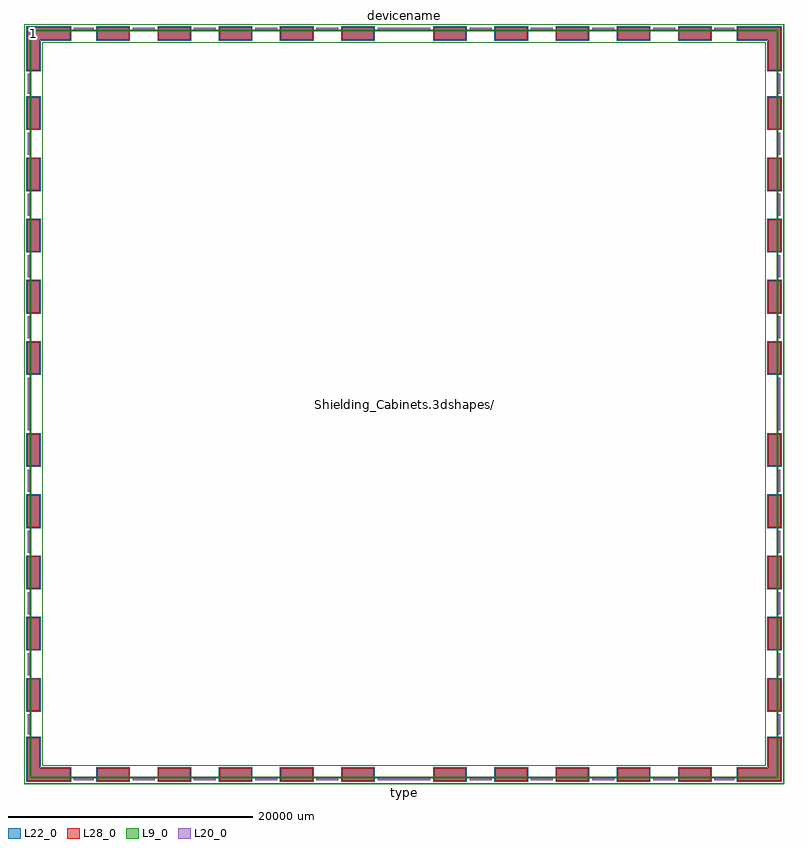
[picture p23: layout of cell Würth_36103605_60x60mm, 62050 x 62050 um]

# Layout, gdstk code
import gdstk
lib = gdstk.Library(unit=1e-6, precision=1e-09)
def R(c, l, rs):  # rectangles x0, y0, x1, y1
    for r in rs: c.add(gdstk.rectangle(r[:2], r[2:], *l))
def A(c, l, x, y, w, h, nx, ny, dx, dy):  # array of equal rectangles
    R(c, l, [(x+i*dx, y+j*dy, x+i*dx+w, y+j*dy+h) for i in range(nx) for j in range(ny)])
L9_0 = (9, 0)
L20_0 = (20, 0)
L22_0 = (22, 0)
L28_0 = (28, 0)

w_rth_36103605_60x60mm = lib.new_cell('Würth_36103605_60x60mm')
A(w_rth_36103605_60x60mm, L22_0, -25125, -30825, 2750, 1150, 5, 2, 5000, 60500)
A(w_rth_36103605_60x60mm, L22_0, 2375, -30825, 2750, 1150, 5, 2, 5000, 60500)
A(w_rth_36103605_60x60mm, L22_0, -30825, -25125, 1150, 2750, 1, 5, 0, 5000)
A(w_rth_36103605_60x60mm, L22_0, 29675, -25125, 1150, 2750, 1, 5, 0, 5000)
A(w_rth_36103605_60x60mm, L22_0, -30825, 2375, 1150, 2750, 1, 5, 0, 5000)
A(w_rth_36103605_60x60mm, L22_0, 29675, 2375, 1150, 2750, 1, 5, 0, 5000)
R(w_rth_36103605_60x60mm, L22_0, [(-30825,-30825,-29675,-29675), (-29825,-30825,-27175,-29675), (27175,-30825,29825,-29675), (29675,-30825,30825,-29675), (-30825,-29825,-29675,-27175), (29675,-29825,30825,-27175), (-30825,27175,-29675,29825), (29675,27175,30825,29825), (-30825,29675,-29675,30825), (-29825,29675,-27175,30825), (27175,29675,29825,30825), (29675,29675,30825,30825)])
A(w_rth_36103605_60x60mm, L28_0, -25050, -30750, 2600, 1000, 5, 2, 5000, 60500)
A(w_rth_36103605_60x60mm, L28_0, 2450, -30750, 2600, 1000, 5, 2, 5000, 60500)
A(w_rth_36103605_60x60mm, L28_0, -30750, -25050, 1000, 2600, 1, 5, 0, 5000)
A(w_rth_36103605_60x60mm, L28_0, 29750, -25050, 1000, 2600, 1, 5, 0, 5000)
A(w_rth_36103605_60x60mm, L28_0, -30750, 2450, 1000, 2600, 1, 5, 0, 5000)
A(w_rth_36103605_60x60mm, L28_0, 29750, 2450, 1000, 2600, 1, 5, 0, 5000)
R(w_rth_36103605_60x60mm, L28_0, [(-30750,-30750,-29750,-29750), (-29750,-30750,-27250,-29750), (27250,-30750,29750,-29750), (29750,-30750,30750,-29750), (-30750,-29750,-29750,-27250), (29750,-29750,30750,-27250), (-30750,27250,-29750,29750), (29750,27250,30750,29750), (-30750,29750,-29750,30750), (-29750,29750,-27250,30750), (27250,29750,29750,30750), (29750,29750,30750,30750)])
w_rth_36103605_60x60mm.add(gdstk.FlexPath([(30650,-25350),(30650,-26950)], 149.998, ends="flush", simple_path=True, layer=20, datatype=0))  # L20_0
w_rth_36103605_60x60mm.add(gdstk.FlexPath([(-30650,-25350),(-30650,-26950)], 149.998, ends="flush", simple_path=True, layer=20, datatype=0))  # L20_0
w_rth_36103605_60x60mm.add(gdstk.FlexPath([(30650,-20350),(30650,-22150)], 149.998, ends="flush", simple_path=True, layer=20, datatype=0))  # L20_0
w_rth_36103605_60x60mm.add(gdstk.FlexPath([(-30650,-20350),(-30650,-22150)], 149.998, ends="flush", simple_path=True, layer=20, datatype=0))  # L20_0
w_rth_36103605_60x60mm.add(gdstk.FlexPath([(30650,-15350),(30650,-17150)], 149.998, ends="flush", simple_path=True, layer=20, datatype=0))  # L20_0
w_rth_36103605_60x60mm.add(gdstk.FlexPath([(-30650,-15350),(-30650,-17150)], 149.998, ends="flush", simple_path=True, layer=20, datatype=0))  # L20_0
w_rth_36103605_60x60mm.add(gdstk.FlexPath([(30650,-10350),(30650,-12150)], 149.998, ends="flush", simple_path=True, layer=20, datatype=0))  # L20_0
w_rth_36103605_60x60mm.add(gdstk.FlexPath([(-30650,-10350),(-30650,-12150)], 149.998, ends="flush", simple_path=True, layer=20, datatype=0))  # L20_0
w_rth_36103605_60x60mm.add(gdstk.FlexPath([(30650,-5350),(30650,-7150)], 149.998, ends="flush", simple_path=True, layer=20, datatype=0))  # L20_0
w_rth_36103605_60x60mm.add(gdstk.FlexPath([(-30650,-5350),(-30650,-7150)], 149.998, ends="flush", simple_path=True, layer=20, datatype=0))  # L20_0
w_rth_36103605_60x60mm.add(gdstk.FlexPath([(30650,2150),(30650,-2150)], 149.998, ends="flush", simple_path=True, layer=20, datatype=0))  # L20_0
w_rth_36103605_60x60mm.add(gdstk.FlexPath([(-30650,2150),(-30650,-2150)], 149.998, ends="flush", simple_path=True, layer=20, datatype=0))  # L20_0
w_rth_36103605_60x60mm.add(gdstk.FlexPath([(30650,7150),(30650,5350)], 149.998, ends="flush", simple_path=True, layer=20, datatype=0))  # L20_0
w_rth_36103605_60x60mm.add(gdstk.FlexPath([(-30650,7150),(-30650,5350)], 149.998, ends="flush", simple_path=True, layer=20, datatype=0))  # L20_0
w_rth_36103605_60x60mm.add(gdstk.FlexPath([(30650,12150),(30650,10350)], 149.998, ends="flush", simple_path=True, layer=20, datatype=0))  # L20_0
w_rth_36103605_60x60mm.add(gdstk.FlexPath([(-30650,12150),(-30650,10350)], 149.998, ends="flush", simple_path=True, layer=20, datatype=0))  # L20_0
w_rth_36103605_60x60mm.add(gdstk.FlexPath([(30650,17150),(30650,15350)], 149.998, ends="flush", simple_path=True, layer=20, datatype=0))  # L20_0
w_rth_36103605_60x60mm.add(gdstk.FlexPath([(-30650,17150),(-30650,15350)], 149.998, ends="flush", simple_path=True, layer=20, datatype=0))  # L20_0
w_rth_36103605_60x60mm.add(gdstk.FlexPath([(30650,22150),(30650,20350)], 149.998, ends="flush", simple_path=True, layer=20, datatype=0))  # L20_0
w_rth_36103605_60x60mm.add(gdstk.FlexPath([(-30650,22150),(-30650,20350)], 149.998, ends="flush", simple_path=True, layer=20, datatype=0))  # L20_0
w_rth_36103605_60x60mm.add(gdstk.FlexPath([(30650,26950),(30650,25350)], 149.998, ends="flush", simple_path=True, layer=20, datatype=0))  # L20_0
w_rth_36103605_60x60mm.add(gdstk.FlexPath([(-30650,26950),(-30650,25350)], 149.998, ends="flush", simple_path=True, layer=20, datatype=0))  # L20_0
w_rth_36103605_60x60mm.add(gdstk.FlexPath([(25350,-30650),(26950,-30650)], 149.998, ends="flush", simple_path=True, layer=20, datatype=0))  # L20_0
w_rth_36103605_60x60mm.add(gdstk.FlexPath([(25350,30650),(26950,30650)], 149.998, ends="flush", simple_path=True, layer=20, datatype=0))  # L20_0
w_rth_36103605_60x60mm.add(gdstk.FlexPath([(20350,-30650),(22150,-30650)], 149.998, ends="flush", simple_path=True, layer=20, datatype=0))  # L20_0
w_rth_36103605_60x60mm.add(gdstk.FlexPath([(20350,30650),(22150,30650)], 149.998, ends="flush", simple_path=True, layer=20, datatype=0))  # L20_0
w_rth_36103605_60x60mm.add(gdstk.FlexPath([(15350,-30650),(17150,-30650)], 149.998, ends="flush", simple_path=True, layer=20, datatype=0))  # L20_0
w_rth_36103605_60x60mm.add(gdstk.FlexPath([(15350,30650),(17150,30650)], 149.998, ends="flush", simple_path=True, layer=20, datatype=0))  # L20_0
w_rth_36103605_60x60mm.add(gdstk.FlexPath([(10350,-30650),(12150,-30650)], 149.998, ends="flush", simple_path=True, layer=20, datatype=0))  # L20_0
w_rth_36103605_60x60mm.add(gdstk.FlexPath([(10350,30650),(12150,30650)], 149.998, ends="flush", simple_path=True, layer=20, datatype=0))  # L20_0
w_rth_36103605_60x60mm.add(gdstk.FlexPath([(5350,-30650),(7150,-30650)], 149.998, ends="flush", simple_path=True, layer=20, datatype=0))  # L20_0
w_rth_36103605_60x60mm.add(gdstk.FlexPath([(5350,30650),(7150,30650)], 149.998, ends="flush", simple_path=True, layer=20, datatype=0))  # L20_0
w_rth_36103605_60x60mm.add(gdstk.FlexPath([(-2150,-30650),(2150,-30650)], 149.998, ends="flush", simple_path=True, layer=20, datatype=0))  # L20_0
w_rth_36103605_60x60mm.add(gdstk.FlexPath([(-2150,30650),(2150,30650)], 149.998, ends="flush", simple_path=True, layer=20, datatype=0))  # L20_0
w_rth_36103605_60x60mm.add(gdstk.FlexPath([(-7150,-30650),(-5350,-30650)], 149.998, ends="flush", simple_path=True, layer=20, datatype=0))  # L20_0
w_rth_36103605_60x60mm.add(gdstk.FlexPath([(-7150,30650),(-5350,30650)], 149.998, ends="flush", simple_path=True, layer=20, datatype=0))  # L20_0
w_rth_36103605_60x60mm.add(gdstk.FlexPath([(-12150,-30650),(-10350,-30650)], 149.998, ends="flush", simple_path=True, layer=20, datatype=0))  # L20_0
w_rth_36103605_60x60mm.add(gdstk.FlexPath([(-12150,30650),(-10350,30650)], 149.998, ends="flush", simple_path=True, layer=20, datatype=0))  # L20_0
w_rth_36103605_60x60mm.add(gdstk.FlexPath([(-17150,-30650),(-15350,-30650)], 149.998, ends="flush", simple_path=True, layer=20, datatype=0))  # L20_0
w_rth_36103605_60x60mm.add(gdstk.FlexPath([(-17150,30650),(-15350,30650)], 149.998, ends="flush", simple_path=True, layer=20, datatype=0))  # L20_0
w_rth_36103605_60x60mm.add(gdstk.FlexPath([(-22150,-30650),(-20350,-30650)], 149.998, ends="flush", simple_path=True, layer=20, datatype=0))  # L20_0
w_rth_36103605_60x60mm.add(gdstk.FlexPath([(-22150,30650),(-20350,30650)], 149.998, ends="flush", simple_path=True, layer=20, datatype=0))  # L20_0
w_rth_36103605_60x60mm.add(gdstk.FlexPath([(-26950,-30650),(-25350,-30650)], 149.998, ends="flush", simple_path=True, layer=20, datatype=0))  # L20_0
w_rth_36103605_60x60mm.add(gdstk.FlexPath([(-26950,30650),(-25350,30650)], 149.998, ends="flush", simple_path=True, layer=20, datatype=0))  # L20_0
w_rth_36103605_60x60mm.add(gdstk.FlexPath([(30500,30500),(-30500,30500)], 149.998, ends="flush", simple_path=True, layer=9, datatype=0))  # L9_0
w_rth_36103605_60x60mm.add(gdstk.FlexPath([(30500,-30500),(30500,30500)], 149.998, ends="flush", simple_path=True, layer=9, datatype=0))  # L9_0
w_rth_36103605_60x60mm.add(gdstk.FlexPath([(-30500,-30500),(30500,-30500)], 149.998, ends="flush", simple_path=True, layer=9, datatype=0))  # L9_0
w_rth_36103605_60x60mm.add(gdstk.FlexPath([(-30500,30500),(-30500,-30500)], 149.998, ends="flush", simple_path=True, layer=9, datatype=0))  # L9_0
w_rth_36103605_60x60mm.add(gdstk.FlexPath([(29500,29500),(-29500,29500)], 50, ends="flush", simple_path=True, layer=9, datatype=0))  # L9_0
w_rth_36103605_60x60mm.add(gdstk.FlexPath([(29500,-29500),(29500,29500)], 50, ends="flush", simple_path=True, layer=9, datatype=0))  # L9_0
w_rth_36103605_60x60mm.add(gdstk.FlexPath([(-29500,-29500),(29500,-29500)], 50, ends="flush", simple_path=True, layer=9, datatype=0))  # L9_0
w_rth_36103605_60x60mm.add(gdstk.FlexPath([(-29500,29500),(-29500,-29500)], 50, ends="flush", simple_path=True, layer=9, datatype=0))  # L9_0
w_rth_36103605_60x60mm.add(gdstk.FlexPath([(31000,31000),(-31000,31000)], 50, ends="flush", simple_path=True, layer=9, datatype=0))  # L9_0
w_rth_36103605_60x60mm.add(gdstk.FlexPath([(31000,-31000),(31000,31000)], 50, ends="flush", simple_path=True, layer=9, datatype=0))  # L9_0
w_rth_36103605_60x60mm.add(gdstk.FlexPath([(-31000,-31000),(31000,-31000)], 50, ends="flush", simple_path=True, layer=9, datatype=0))  # L9_0
w_rth_36103605_60x60mm.add(gdstk.FlexPath([(-31000,31000),(-31000,-31000)], 50, ends="flush", simple_path=True, layer=9, datatype=0))  # L9_0
w_rth_36103605_60x60mm.add(gdstk.Label('Shielding_Cabinets.3dshapes/Würth_36103605_60x60mm.wrl', (0,0), layer=12, texttype=0))
w_rth_36103605_60x60mm.add(gdstk.Label('1', (-30250,30250), layer=28, texttype=0))
w_rth_36103605_60x60mm.add(gdstk.Label('type', (0,-31750), layer=9, texttype=0))
w_rth_36103605_60x60mm.add(gdstk.Label('devicename', (0,31750), layer=9, texttype=0))

lib.write_gds('Würth_36103605_60x60mm.gds')
